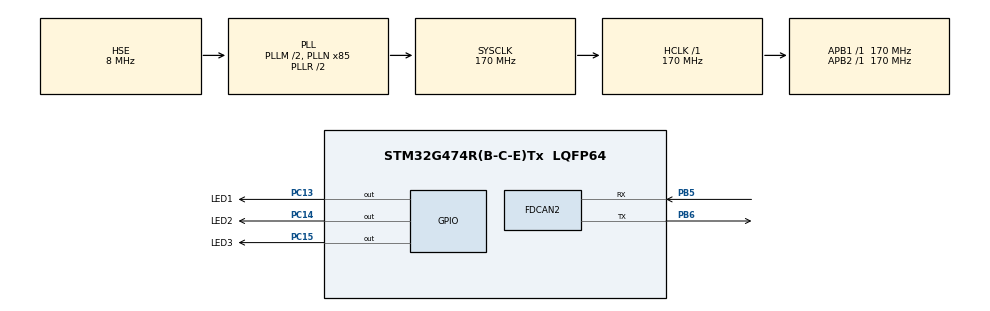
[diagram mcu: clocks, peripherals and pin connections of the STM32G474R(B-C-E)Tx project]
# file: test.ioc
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FDCAN2.AutoRetransmission=ENABLE
FDCAN2.CalculateBaudRateNominal=999999
FDCAN2.CalculateTimeBitNominal=1000
FDCAN2.CalculateTimeQuantumNominal=29.411764705882355
FDCAN2.DataPrescaler=2
FDCAN2.DataSyncJumpWidth=4
FDCAN2.DataTimeSeg1=12
FDCAN2.DataTimeSeg2=4
FDCAN2.ExtFiltersNbr=4
FDCAN2.FrameFormat=FDCAN_FRAME_CLASSIC
FDCAN2.NominalPrescaler=5
FDCAN2.NominalSyncJumpWidth=5
FDCAN2.NominalTimeSeg1=26
FDCAN2.NominalTimeSeg2=7
FDCAN2.ProtocolException=ENABLE
FDCAN2.StdFiltersNbr=0
FDCAN2.TransmitPause=ENABLE
Mcu.Family=STM32G4
Mcu.Name=STM32G474R(B-C-E)Tx
Mcu.Package=LQFP64
NVIC.FDCAN2_IT0_IRQn=true\:0\:0\:false\:false\:true\:true\:true\:true
NVIC.FDCAN2_IT1_IRQn=true\:0\:0\:false\:false\:true\:true\:true\:true
NVIC.PriorityGroup=NVIC_PRIORITYGROUP_4
NVIC.TIM6_DAC_IRQn=true\:1\:0\:true\:false\:true\:true\:true\:true
PA13.Mode=Serial_Wire
PA13.Signal=SYS_JTMS-SWDIO
PA14.Mode=Serial_Wire
PA14.Signal=SYS_JTCK-SWCLK
PB5.Mode=FDCAN_Activate
PB5.Signal=FDCAN2_RX
PB6.Mode=FDCAN_Activate
PB6.Signal=FDCAN2_TX
PC13.GPIO_Label=LED1
PC13.Signal=GPIO_Output
PC14-OSC32_IN.GPIO_Label=LED2
PC14-OSC32_IN.Signal=GPIO_Output
PC15-OSC32_OUT.GPIO_Label=LED3
PC15-OSC32_OUT.Signal=GPIO_Output
PF0-OSC_IN.Mode=HSE-External-Oscillator
PF0-OSC_IN.Signal=RCC_OSC_IN
PF1-OSC_OUT.Mode=HSE-External-Oscillator
PF1-OSC_OUT.Signal=RCC_OSC_OUT
ProjectManager.HeapSize=0x200
ProjectManager.StackSize=0x400
ProjectManager.TargetToolchain=CMake
RCC.ADC12Freq_Value=170000000
RCC.ADC345Freq_Value=170000000
RCC.AHBFreq_Value=170000000
RCC.APB1Freq_Value=170000000
RCC.APB1TimFreq_Value=170000000
RCC.APB2Freq_Value=170000000
RCC.APB2TimFreq_Value=170000000
RCC.CortexFreq_Value=170000000
RCC.EXTERNAL_CLOCK_VALUE=12288000
RCC.HCLKFreq_Value=170000000
RCC.HSE_VALUE=8000000
RCC.HSI48_VALUE=48000000
RCC.HSI_VALUE=16000000
RCC.LSE_VALUE=32768
RCC.PLLM=RCC_PLLM_DIV2
RCC.PLLN=85
RCC.PLLSourceVirtual=RCC_PLLSOURCE_HSE
RCC.SYSCLKFreq_VALUE=170000000
RCC.SYSCLKSource=RCC_SYSCLKSOURCE_PLLCLK
RCC.USBFreq_Value=170000000
RCC.VCOOutputFreq_Value=340000000
TIM6.AutoReloadPreload=TIM_AUTORELOAD_PRELOAD_ENABLE
TIM6.PeriodNoDither=1000 - 1
TIM6.Prescaler=170 - 1
VP_SYS_VS_DBSignals.Mode=DisableDeadBatterySignals
VP_TIM6_VS_ClockSourceINT.Mode=Enable_Timer
board=custom

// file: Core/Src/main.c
/* USER CODE BEGIN Header */
/**
  ******************************************************************************
  * @file           : main.c
  * @brief          : Main program body
  ******************************************************************************
  * @attention
  *
  * Copyright (c) 2026 STMicroelectronics.
  * All rights reserved.
  *
  * This software is licensed under terms that can be found in the LICENSE file
  * in the root directory of this software component.
  * If no LICENSE file comes with this software, it is provided AS-IS.
  *
  ******************************************************************************
  */
/* USER CODE END Header */
#include "main.h"
#include "fdcan.h"
#include "tim.h"
#include "gpio.h"

/* USER CODE BEGIN Includes */
#include "can_common.h"
#include "CO_app_STM32.h"
#include "OD.h"
/* USER CODE END Includes */

/* USER CODE BEGIN PV */
volatile uint32_t led_delay_ms = 5000;
static CANopenNodeSTM32 canopenConfig = {0};
/* USER CODE END PV */

void SystemClock_Config(void);

/* USER CODE BEGIN 0 */
static ODR_t OD_write_ledBlinkPeriodMs(
    OD_stream_t *stream,
    const void *buf,
    OD_size_t count,
    OD_size_t *countWritten)
{
    if (stream == NULL || buf == NULL || countWritten == NULL)
    {
        return ODR_DEV_INCOMPAT;
    }

    *countWritten = 0;

    if (stream->subIndex != 0U)
    {
        return ODR_SUB_NOT_EXIST;
    }

    if (count != sizeof(uint16_t))
    {
        return ODR_TYPE_MISMATCH;
    }

    /* buf 指向本次要写入的对象数据 */
    uint16_t value = CO_getUint16(buf);

    if (value < 100U)
    {
        return ODR_VALUE_LOW;
    }

    if (value > 5000U)
    {
        return ODR_VALUE_HIGH;
    }

    /* 校验通过，才真正更新对象字典变量 */
    return OD_writeOriginal(stream, buf, count, countWritten);
}

static OD_extension_t ledBlinkExtension = {
    .object = NULL,
    .read = OD_readOriginal,
    .write = OD_write_ledBlinkPeriodMs
};
/* USER CODE END 0 */

int main(void)
{

  /* MCU Configuration--------------------------------------------------------*/

  /* Reset of all peripherals, Initializes the Flash interface and the Systick. */
  HAL_Init();

  /* Configure the system clock */
  SystemClock_Config();

  /* Initialize all configured peripherals */
  MX_GPIO_Init();
  MX_FDCAN2_Init();
  MX_TIM6_Init();
  /* USER CODE BEGIN 2 */
	// Dawn_CANFD_Init();
  // HAL_TIM_Base_Start_IT(&htim6);
  canopenConfig.CANHandle = &hfdcan2;
  canopenConfig.HWInitFunction = MX_FDCAN2_Init;
  canopenConfig.timerHandle = &htim6;
  canopenConfig.desiredNodeID = 1;
  canopenConfig.baudrate = 1000;  /* 单位：kbit/s */

  /* RPDO1：接收 0x201，写入 0x6000:00 */
  OD_PERSIST_COMM.x1400_RPDOCommunicationParameter.COB_IDUsedByRPDO =
      0x00000201;

  OD_PERSIST_COMM.x1400_RPDOCommunicationParameter.transmissionType =
      254;

  OD_PERSIST_COMM.x1600_RPDOMappingParameter.applicationObject1 =
      0x60000020;

  OD_PERSIST_COMM.x1600_RPDOMappingParameter.numberOfMappedApplicationObjectsInPDO =
      1;

  /* TPDO1：通过 0x181，每 500 ms 发送 0x6000:00 */
  OD_PERSIST_COMM.x1800_TPDOCommunicationParameter.COB_IDUsedByTPDO =
      0x40000181;

  OD_PERSIST_COMM.x1800_TPDOCommunicationParameter.transmissionType =
      254;

  OD_PERSIST_COMM.x1800_TPDOCommunicationParameter.inhibitTime =
      0;

  OD_PERSIST_COMM.x1800_TPDOCommunicationParameter.eventTimer =
      500;

  OD_PERSIST_COMM.x1A00_TPDOMappingParameter.applicationObject1 =
      0x60000020;

  OD_PERSIST_COMM.x1A00_TPDOMappingParameter.numberOfMappedApplicationObjectsInPDO =
      1;
  if (OD_extension_init(OD_ENTRY_H2000_ledBlinkPeriodMs,
                        &ledBlinkExtension) != ODR_OK)
  {
      Error_Handler();
  }
  int init_result = canopen_app_init(&canopenConfig);

if (init_result != 0)
{
    Error_Handler();
}
  /* USER CODE END 2 */

  /* Infinite loop */
  while (1)
  {

    /* USER CODE BEGIN 3 */

    // Dawn_CANFD_SendMessage(0x7F0 | 0x01, FDCAN_STANDARD_ID, (uint8_t[]){0x83, 0x01, 0xFF, 0xFF, 0xFF, 0xFF, 0xFF, 0xFF}, 8, 0);
    // HAL_Delay(100);

    canopen_app_process();
  }
  /* USER CODE END 3 */
}

void SystemClock_Config(void)
{
  RCC_OscInitTypeDef RCC_OscInitStruct = {0};
  RCC_ClkInitTypeDef RCC_ClkInitStruct = {0};

  /** Configure the main internal regulator output voltage
  */
  HAL_PWREx_ControlVoltageScaling(PWR_REGULATOR_VOLTAGE_SCALE1_BOOST);

  /** Initializes the RCC Oscillators according to the specified parameters
  * in the RCC_OscInitTypeDef structure.
  */
  RCC_OscInitStruct.OscillatorType = RCC_OSCILLATORTYPE_HSE;
  RCC_OscInitStruct.HSEState = RCC_HSE_ON;
  RCC_OscInitStruct.PLL.PLLState = RCC_PLL_ON;
  RCC_OscInitStruct.PLL.PLLSource = RCC_PLLSOURCE_HSE;
  RCC_OscInitStruct.PLL.PLLM = RCC_PLLM_DIV2;
  RCC_OscInitStruct.PLL.PLLN = 85;
  RCC_OscInitStruct.PLL.PLLP = RCC_PLLP_DIV2;
  RCC_OscInitStruct.PLL.PLLQ = RCC_PLLQ_DIV2;
  RCC_OscInitStruct.PLL.PLLR = RCC_PLLR_DIV2;
  if (HAL_RCC_OscConfig(&RCC_OscInitStruct) != HAL_OK)
  {
    Error_Handler();
  }

  /** Initializes the CPU, AHB and APB buses clocks
  */
  RCC_ClkInitStruct.ClockType = RCC_CLOCKTYPE_HCLK|RCC_CLOCKTYPE_SYSCLK
                              |RCC_CLOCKTYPE_PCLK1|RCC_CLOCKTYPE_PCLK2;
  RCC_ClkInitStruct.SYSCLKSource = RCC_SYSCLKSOURCE_PLLCLK;
  RCC_ClkInitStruct.AHBCLKDivider = RCC_SYSCLK_DIV1;
  RCC_ClkInitStruct.APB1CLKDivider = RCC_HCLK_DIV1;
  RCC_ClkInitStruct.APB2CLKDivider = RCC_HCLK_DIV1;

  if (HAL_RCC_ClockConfig(&RCC_ClkInitStruct, FLASH_LATENCY_4) != HAL_OK)
  {
    Error_Handler();
  }
}

void Error_Handler(void)
{
  __disable_irq();
  while (1)
  {
  }
}
